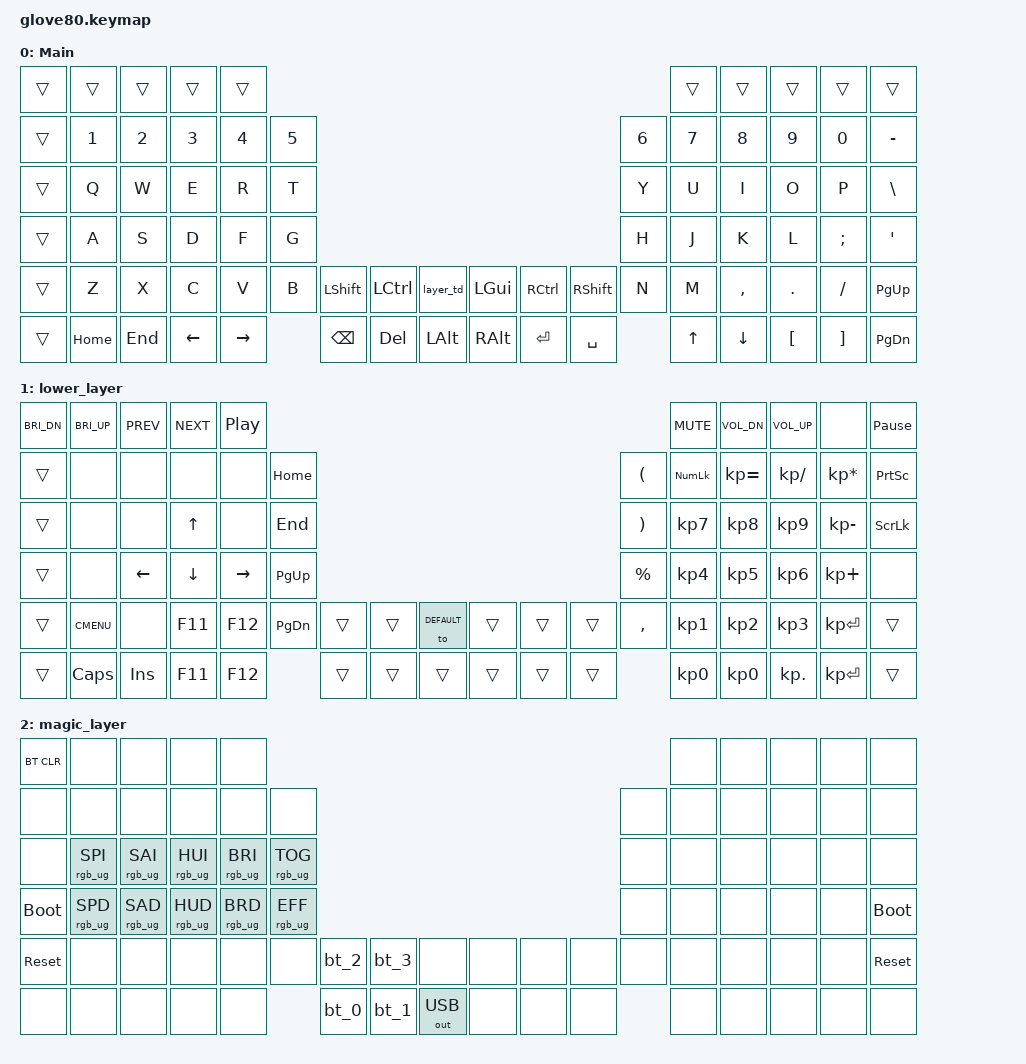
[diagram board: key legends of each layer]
/*
 * Copyright (c) 2020 The ZMK Contributors
 *
 * SPDX-License-Identifier: MIT
 */

#include <behaviors.dtsi>
#include <dt-bindings/zmk/bt.h>
#include <dt-bindings/zmk/keys.h>
#include <dt-bindings/zmk/outputs.h>
#include <dt-bindings/zmk/rgb.h>

// layers

#define DEFAULT 0
#define LOWER 1
#define MAGIC 2

/ {
    behaviors {
        #ifndef HOMEY_HOLDING_TYPE
        #define HOMEY_HOLDING_TYPE "tap-preferred"
        #endif

        #ifndef HOMEY_HOLDING_TIME
        #define HOMEY_HOLDING_TIME 270
        #endif

        #ifndef HOMEY_STREAK_DECAY
        #define HOMEY_STREAK_DECAY 170
        #endif

        #ifndef HOMEY_REPEAT_DECAY
        #define HOMEY_REPEAT_DECAY 300 // "tap then hold" for key auto-repeat
        #endif

    #ifndef THUMB_HOLDING_TYPE
    #define THUMB_HOLDING_TYPE "balanced"
    #endif
    #ifndef THUMB_HOLDING_TIME
    #define THUMB_HOLDING_TIME 300
    #endif
    #ifndef THUMB_REPEAT_DECAY
    #define THUMB_REPEAT_DECAY 300 // "tap then hold" for key auto-repeat
    #endif

        hm: homerow_mods {
            compatible = "zmk,behavior-hold-tap";
            flavor =
            HOMEY_HOLDING_TYPE;
            hold-trigger-on-release; // wait for other home row mods
            tapping-term-ms = <HOMEY_HOLDING_TIME>;
            quick-tap-ms = <HOMEY_REPEAT_DECAY>;
            require-prior-idle-ms = <HOMEY_STREAK_DECAY>;
            #binding-cells = <2>;
            bindings = <&kp>, <&kp>;
        };

        dthumb: dual_thumb_layer {
            compatible = "zmk,behavior-hold-tap";
            label = "DUAL_THUMB_LAYER";
            flavor =
            THUMB_HOLDING_TYPE;
            tapping-term-ms = <THUMB_HOLDING_TIME>;
            quick-tap-ms = <THUMB_REPEAT_DECAY>; // enable repeat
            #binding-cells = <2>;
            bindings = <&kp>, <&kp>;
        };

        thumb: miryoku_thumb_layer {
            compatible = "zmk,behavior-hold-tap";
            label = "MIRYOKU_THUMB_LAYER";
            flavor =
            THUMB_HOLDING_TYPE;
            tapping-term-ms = <THUMB_HOLDING_TIME>;
            quick-tap-ms = <THUMB_REPEAT_DECAY>; // enable repeat
            //global-quick-tap; // no typing streak
            //retro-tap; // don't allow slow (hold-like) taps

            #binding-cells = <2>;
            bindings = <&mo>, <&kp>;
        };

        hml: hml {
            compatible = "zmk,behavior-hold-tap";
            flavor;
            HOMEY_HOLDING_TYPE;
            hold-trigger-on-release;
            tapping-term-ms = <HOMEY_HOLDING_TIME>;
            quick-tap-ms = <HOMEY_REPEAT_DECAY>;
            require-prior-idle-ms = <HOMEY_STREAK_DECAY>;
            #binding-cells = <2>;
            bindings = <&kp>, <&kp>;

            label = "Home row left";

            //hold-trigger-key-positions = <5 6 7 8 9 15 16 17 18 19 25 26 27 28 29 33 32>;

            hold-trigger-key-positions = <8 9 16 17 18 19 20 21 28 29 30 31 32 33 40 41 42 43 44 45 55 56 57 58 59 60 61 62 63 72 73 74 75 76 77 78 79 5 6 7>;
        };

        hmr: hmr {
            compatible = "zmk,behavior-hold-tap";
            flavor;
            HOMEY_HOLDING_TYPE;
            hold-trigger-on-release;
            tapping-term-ms = <HOMEY_HOLDING_TIME>;
            quick-tap-ms = <HOMEY_REPEAT_DECAY>;
            require-prior-idle-ms = <HOMEY_STREAK_DECAY>;
            #binding-cells = <2>;
            bindings = <&kp>, <&kp>;

            label = "Home row right";

            //hold-trigger-key-positions = <0 1 2 3 4 10 11 12 13 14 20 21 22 23 24 30 31>;

            hold-trigger-key-positions = <0 1 2 3 4 10 11 12 13 14 15 22 23 24 25 26 27 34 35 36 37 38 39 46 47 48 49 50 51 52 53 54 64 65 66 67 68 69 70 71>;
        };

        // For the "layer" key, it'd nice to be able to use it as either a shift or a toggle.
        // Configure it as a tap dance, so the first tap (or hold) is a &mo and the second tap is a &to

        layer_td: tap_dance_0 {
            compatible = "zmk,behavior-tap-dance";
            #binding-cells = <0>;
            tapping-term-ms = <200>;
            bindings = <&mo LOWER>, <&to LOWER>;
        };
    };

    macros {
        bt_0: bt_profile_macro_0 {
            compatible = "zmk,behavior-macro";
            #binding-cells = <0>;
            bindings = <&out OUT_BLE &bt BT_SEL 0>;
        };

        bt_1: bt_profile_macro_1 {
            compatible = "zmk,behavior-macro";
            #binding-cells = <0>;
            bindings = <&out OUT_BLE &bt BT_SEL 1>;
        };

        bt_2: bt_profile_macro_2 {
            compatible = "zmk,behavior-macro";
            #binding-cells = <0>;
            bindings = <&out OUT_BLE &bt BT_SEL 2>;
        };

        bt_3: bt_profile_macro_3 {
            compatible = "zmk,behavior-macro";
            #binding-cells = <0>;
            bindings = <&out OUT_BLE &bt BT_SEL 3>;
        };
    };

    keymap {
        compatible = "zmk,keymap";

        Main {
            // ---------------------------------------------------------------------------------------------------------------------------------
            // |  F1   |  F2 |  F3 |  F4  |  F5  |                                                               |  F6   |  F7   |  F8  |   F9  |  F10 |
            // |  =    |  1  |  2  |  3   |  4   |  5   |                                                 |  6   |   7   |   8   |  9   |   0   |   -  |
            // |  TAB  |  Q  |  W  |  E   |  R   |  T   |                                                 |  Y   |   U   |   I   |  O   |   P   |   \  |
            // |  ESC  |  A  |  S  |  D   |  F   |  G   |                                                 |  H   |   J   |   K   |  L   |   ;   |   '  |
            // |   `   |  Z  |  X  |  C   |  V   |  B   | LSHFT | LCTRL | LOWER | | LGUI  | RCTRL | RSHFT |  N   |   M   |   ,   |  .   |   /   | PGUP |
            // | MAGIC | HOME| END | LEFT | RIGHT|      | BSPC  | DEL   | LALT  | | RALT  | RET   | SPACE |      |  UP   | DOWN  |  [   |   ]   | PGDN |

            bindings = <
&trans  &trans    &trans   &trans    &trans                                                                                        &trans  &trans     &trans    &trans    &trans
&trans  &kp N1    &kp N2   &kp N3    &kp N4     &kp N5                                                                     &kp N6  &kp N7  &kp N8     &kp N9    &kp N0    &kp MINUS
&trans  &kp Q     &kp W    &kp E     &kp R      &kp T                                                                      &kp Y   &kp U   &kp I      &kp O     &kp P     &kp BSLH
&trans  &kp A     &kp S    &kp D     &kp F      &kp G                                                                      &kp H   &kp J   &kp K      &kp L     &kp SEMI  &kp SQT
&trans  &kp Z     &kp X    &kp C     &kp V      &kp B   &kp LSHFT  &kp LCTRL  &layer_td    &kp LGUI  &kp RCTRL  &kp RSHFT  &kp N   &kp M   &kp COMMA  &kp DOT   &kp FSLH  &kp PG_UP
&trans  &kp HOME  &kp END  &kp LEFT  &kp RIGHT          &kp BSPC   &kp DEL    &kp LALT     &kp RALT  &kp RET    &kp SPACE          &kp UP  &kp DOWN   &kp LBKT  &kp RBKT  &kp PG_DN
            >;
        };

        lower_layer {
            bindings = <
&kp C_BRI_DN  &kp C_BRI_UP  &kp C_PREV  &kp C_NEXT  &kp C_PP                                                                                &kp C_MUTE  &kp C_VOL_DN  &kp C_VOL_UP   &none            &kp PAUSE_BREAK
&trans        &none         &none       &none       &none      &kp HOME                                                          &kp LPAR   &kp KP_NUM  &kp KP_EQUAL  &kp KP_DIVIDE  &kp KP_MULTIPLY  &kp PSCRN
&trans        &none         &none       &kp UP      &none      &kp END                                                           &kp RPAR   &kp KP_N7   &kp KP_N8     &kp KP_N9      &kp KP_MINUS     &kp SLCK
&trans        &none         &kp LEFT    &kp DOWN    &kp RIGHT  &kp PG_UP                                                         &kp PRCNT  &kp KP_N4   &kp KP_N5     &kp KP_N6      &kp KP_PLUS      &none
&trans        &kp K_CMENU   &none       &kp F11     &kp F12    &kp PG_DN  &trans  &trans  &to DEFAULT    &trans  &trans  &trans  &kp COMMA  &kp KP_N1   &kp KP_N2     &kp KP_N3      &kp KP_ENTER     &trans
&trans        &kp CAPS      &kp INS     &kp F11     &kp F12               &trans  &trans  &trans         &trans  &trans  &trans             &kp KP_N0   &kp KP_N0     &kp KP_DOT     &kp KP_ENTER     &trans
            >;
        };

        magic_layer {
            bindings = <
&bt BT_CLR   &none            &none            &none            &none                                                                                       &none  &none  &none  &none  &none
&none        &none            &none            &none            &none            &none                                                               &none  &none  &none  &none  &none  &none
&none        &rgb_ug RGB_SPI  &rgb_ug RGB_SAI  &rgb_ug RGB_HUI  &rgb_ug RGB_BRI  &rgb_ug RGB_TOG                                                     &none  &none  &none  &none  &none  &none
&bootloader  &rgb_ug RGB_SPD  &rgb_ug RGB_SAD  &rgb_ug RGB_HUD  &rgb_ug RGB_BRD  &rgb_ug RGB_EFF                                                     &none  &none  &none  &none  &none  &bootloader
&sys_reset   &none            &none            &none            &none            &none            &bt_2  &bt_3  &none           &none  &none  &none  &none  &none  &none  &none  &none  &sys_reset
&none        &none            &none            &none            &none                             &bt_0  &bt_1  &out OUT_USB    &none  &none  &none         &none  &none  &none  &none  &none
            >;
        };
    };
};
